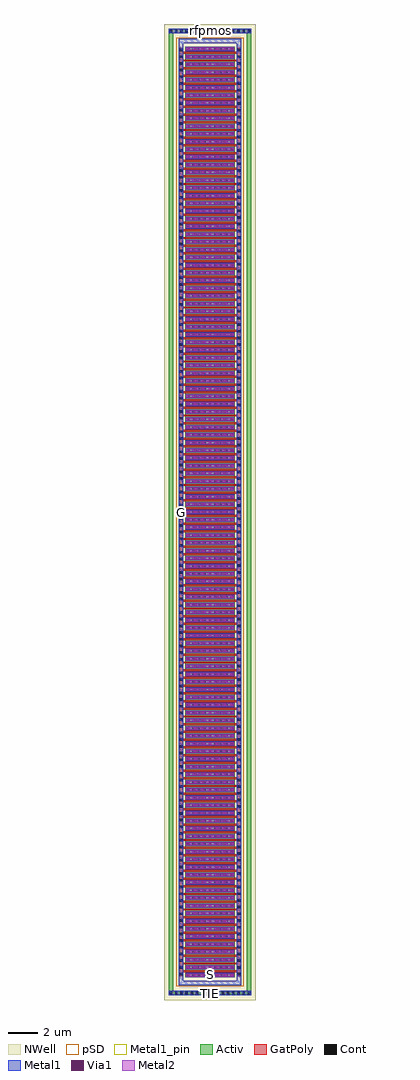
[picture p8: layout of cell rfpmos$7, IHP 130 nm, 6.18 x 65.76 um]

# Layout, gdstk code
import gdstk
lib = gdstk.Library(unit=1e-6, precision=1e-09)
def R(c, l, rs):  # rectangles x0, y0, x1, y1
    for r in rs: c.add(gdstk.rectangle(r[:2], r[2:], *l))
def A(c, l, x, y, w, h, nx, ny, dx, dy):  # array of equal rectangles
    R(c, l, [(x+i*dx, y+j*dy, x+i*dx+w, y+j*dy+h) for i in range(nx) for j in range(ny)])
def P(c, l, *ps):  # polygons
    for p in ps: c.add(gdstk.Polygon(p, *l))
Activ = (1, 0)
GatPoly = (5, 0)
Cont = (6, 0)
Metal1 = (8, 0)
Metal1_pin = (8, 2)
Metal2 = (10, 0)
pSD = (14, 0)
Via1 = (19, 0)
NWell = (31, 0)

rfpmos_7 = lib.new_cell('rfpmos$7')
R(rfpmos_7, Activ, [(1.42,1.525,4.76,64.235)])
P(rfpmos_7, Activ, [(0.31,0.31),(0.31,65.13),(0.63,65.13),(0.63,0.63),(5.55,0.63),(5.55,65.13),(0.31,65.13),(0.31,65.45),(5.87,65.45),(5.87,0.31)])
A(rfpmos_7, GatPoly, 1.29, 1.875, 3.6, 0.13, 1, 120, 0, 0.52)
R(rfpmos_7, GatPoly, [(0.99,1.6,1.29,64.16), (4.89,1.6,5.19,64.16)])
A(rfpmos_7, Cont, 0.735, 0.39, 0.16, 0.16, 7, 2, 0.35, 64.82)
A(rfpmos_7, Cont, 3.18, 0.39, 0.16, 0.16, 8, 2, 0.35, 64.82)
A(rfpmos_7, Cont, 1.52, 1.6, 0.16, 0.16, 1, 121, 0, 0.52)
A(rfpmos_7, Cont, 1.89, 1.6, 0.16, 0.16, 1, 121, 0, 0.52)
A(rfpmos_7, Cont, 2.265, 1.6, 0.16, 0.16, 1, 121, 0, 0.52)
A(rfpmos_7, Cont, 2.635, 1.6, 0.16, 0.16, 1, 121, 0, 0.52)
A(rfpmos_7, Cont, 3.01, 1.6, 0.16, 0.16, 1, 121, 0, 0.52)
A(rfpmos_7, Cont, 3.38, 1.6, 0.16, 0.16, 1, 121, 0, 0.52)
A(rfpmos_7, Cont, 3.755, 1.6, 0.16, 0.16, 1, 121, 0, 0.52)
A(rfpmos_7, Cont, 4.125, 1.6, 0.16, 0.16, 1, 121, 0, 0.52)
A(rfpmos_7, Cont, 4.5, 1.6, 0.16, 0.16, 1, 121, 0, 0.52)
A(rfpmos_7, Cont, 1.06, 1.67, 0.16, 0.16, 1, 5, 0, 0.45)
A(rfpmos_7, Cont, 4.96, 1.67, 0.16, 0.16, 1, 5, 0, 0.45)
A(rfpmos_7, Cont, 1.06, 3.925, 0.16, 0.16, 1, 4, 0, 0.45)
A(rfpmos_7, Cont, 4.96, 3.925, 0.16, 0.16, 1, 4, 0, 0.45)
A(rfpmos_7, Cont, 1.06, 5.73, 0.16, 0.16, 1, 4, 0, 0.45)
A(rfpmos_7, Cont, 4.96, 5.73, 0.16, 0.16, 1, 4, 0, 0.45)
A(rfpmos_7, Cont, 1.06, 7.535, 0.16, 0.16, 1, 5, 0, 0.45)
A(rfpmos_7, Cont, 4.96, 7.535, 0.16, 0.16, 1, 5, 0, 0.45)
A(rfpmos_7, Cont, 1.06, 9.79, 0.16, 0.16, 1, 4, 0, 0.45)
A(rfpmos_7, Cont, 4.96, 9.79, 0.16, 0.16, 1, 4, 0, 0.45)
A(rfpmos_7, Cont, 1.06, 11.595, 0.16, 0.16, 1, 4, 0, 0.45)
A(rfpmos_7, Cont, 4.96, 11.595, 0.16, 0.16, 1, 4, 0, 0.45)
A(rfpmos_7, Cont, 1.06, 13.4, 0.16, 0.16, 1, 5, 0, 0.45)
A(rfpmos_7, Cont, 4.96, 13.4, 0.16, 0.16, 1, 5, 0, 0.45)
A(rfpmos_7, Cont, 1.06, 15.655, 0.16, 0.16, 1, 4, 0, 0.45)
A(rfpmos_7, Cont, 4.96, 15.655, 0.16, 0.16, 1, 4, 0, 0.45)
A(rfpmos_7, Cont, 1.06, 17.46, 0.16, 0.16, 1, 4, 0, 0.45)
A(rfpmos_7, Cont, 4.96, 17.46, 0.16, 0.16, 1, 4, 0, 0.45)
A(rfpmos_7, Cont, 1.06, 19.265, 0.16, 0.16, 1, 5, 0, 0.45)
A(rfpmos_7, Cont, 4.96, 19.265, 0.16, 0.16, 1, 5, 0, 0.45)
A(rfpmos_7, Cont, 1.06, 21.52, 0.16, 0.16, 1, 4, 0, 0.45)
A(rfpmos_7, Cont, 4.96, 21.52, 0.16, 0.16, 1, 4, 0, 0.45)
A(rfpmos_7, Cont, 1.06, 23.325, 0.16, 0.16, 1, 4, 0, 0.45)
A(rfpmos_7, Cont, 4.96, 23.325, 0.16, 0.16, 1, 4, 0, 0.45)
A(rfpmos_7, Cont, 1.06, 25.13, 0.16, 0.16, 1, 5, 0, 0.45)
A(rfpmos_7, Cont, 4.96, 25.13, 0.16, 0.16, 1, 5, 0, 0.45)
A(rfpmos_7, Cont, 1.06, 27.385, 0.16, 0.16, 1, 4, 0, 0.45)
A(rfpmos_7, Cont, 4.96, 27.385, 0.16, 0.16, 1, 4, 0, 0.45)
A(rfpmos_7, Cont, 1.06, 29.19, 0.16, 0.16, 1, 4, 0, 0.45)
A(rfpmos_7, Cont, 4.96, 29.19, 0.16, 0.16, 1, 4, 0, 0.45)
A(rfpmos_7, Cont, 1.06, 30.995, 0.16, 0.16, 1, 4, 0, 0.45)
A(rfpmos_7, Cont, 4.96, 30.995, 0.16, 0.16, 1, 4, 0, 0.45)
A(rfpmos_7, Cont, 1.06, 32.8, 0.16, 0.16, 1, 5, 0, 0.45)
A(rfpmos_7, Cont, 4.96, 32.8, 0.16, 0.16, 1, 5, 0, 0.45)
A(rfpmos_7, Cont, 1.06, 35.055, 0.16, 0.16, 1, 4, 0, 0.45)
A(rfpmos_7, Cont, 4.96, 35.055, 0.16, 0.16, 1, 4, 0, 0.45)
A(rfpmos_7, Cont, 1.06, 36.86, 0.16, 0.16, 1, 4, 0, 0.45)
A(rfpmos_7, Cont, 4.96, 36.86, 0.16, 0.16, 1, 4, 0, 0.45)
A(rfpmos_7, Cont, 1.06, 38.665, 0.16, 0.16, 1, 5, 0, 0.45)
A(rfpmos_7, Cont, 4.96, 38.665, 0.16, 0.16, 1, 5, 0, 0.45)
A(rfpmos_7, Cont, 1.06, 40.92, 0.16, 0.16, 1, 4, 0, 0.45)
A(rfpmos_7, Cont, 4.96, 40.92, 0.16, 0.16, 1, 4, 0, 0.45)
A(rfpmos_7, Cont, 1.06, 42.725, 0.16, 0.16, 1, 4, 0, 0.45)
A(rfpmos_7, Cont, 4.96, 42.725, 0.16, 0.16, 1, 4, 0, 0.45)
A(rfpmos_7, Cont, 1.06, 44.53, 0.16, 0.16, 1, 5, 0, 0.45)
A(rfpmos_7, Cont, 4.96, 44.53, 0.16, 0.16, 1, 5, 0, 0.45)
A(rfpmos_7, Cont, 1.06, 46.785, 0.16, 0.16, 1, 4, 0, 0.45)
A(rfpmos_7, Cont, 4.96, 46.785, 0.16, 0.16, 1, 4, 0, 0.45)
A(rfpmos_7, Cont, 1.06, 48.59, 0.16, 0.16, 1, 4, 0, 0.45)
A(rfpmos_7, Cont, 4.96, 48.59, 0.16, 0.16, 1, 4, 0, 0.45)
A(rfpmos_7, Cont, 1.06, 50.395, 0.16, 0.16, 1, 5, 0, 0.45)
A(rfpmos_7, Cont, 4.96, 50.395, 0.16, 0.16, 1, 5, 0, 0.45)
A(rfpmos_7, Cont, 1.06, 52.65, 0.16, 0.16, 1, 4, 0, 0.45)
A(rfpmos_7, Cont, 4.96, 52.65, 0.16, 0.16, 1, 4, 0, 0.45)
A(rfpmos_7, Cont, 1.06, 54.455, 0.16, 0.16, 1, 4, 0, 0.45)
A(rfpmos_7, Cont, 4.96, 54.455, 0.16, 0.16, 1, 4, 0, 0.45)
A(rfpmos_7, Cont, 1.06, 56.26, 0.16, 0.16, 1, 5, 0, 0.45)
A(rfpmos_7, Cont, 4.96, 56.26, 0.16, 0.16, 1, 5, 0, 0.45)
A(rfpmos_7, Cont, 1.06, 58.515, 0.16, 0.16, 1, 4, 0, 0.45)
A(rfpmos_7, Cont, 4.96, 58.515, 0.16, 0.16, 1, 4, 0, 0.45)
A(rfpmos_7, Cont, 1.06, 60.32, 0.16, 0.16, 1, 4, 0, 0.45)
A(rfpmos_7, Cont, 4.96, 60.32, 0.16, 0.16, 1, 4, 0, 0.45)
A(rfpmos_7, Cont, 1.06, 62.125, 0.16, 0.16, 1, 4, 0, 0.45)
A(rfpmos_7, Cont, 4.96, 62.125, 0.16, 0.16, 1, 4, 0, 0.45)
R(rfpmos_7, Cont, [(0.39,0.39,0.55,0.55), (1.06,63.93,1.22,64.09), (4.96,63.93,5.12,64.09), (0.39,65.21,0.55,65.37)])
A(rfpmos_7, Metal1, 1.47, 1.54, 3.24, 0.28, 1, 121, 0, 0.52)
R(rfpmos_7, Metal1, [(0.31,0.31,5.87,0.63), (1.04,1.62,1.24,64.14), (4.94,1.62,5.14,64.14), (0.31,65.13,5.87,65.45)])
P(rfpmos_7, Metal1, [(0.99,0.99),(0.99,64.47),(1.29,64.47),(1.29,1.29),(4.89,1.29),(4.89,64.47),(0.99,64.47),(0.99,64.77),(5.19,64.77),(5.19,0.99)])
R(rfpmos_7, Metal1_pin, [(0.31,0.39,5.87,0.55), (0.31,0.39,5.87,0.55), (1.47,1.54,4.71,1.82), (1.47,1.54,4.71,1.82), (1.04,1.62,1.24,64.14), (1.04,1.62,1.24,64.14), (1.47,2.06,4.71,2.34), (1.47,2.06,4.71,2.34)])
A(rfpmos_7, Metal2, 1.47, 1.58, 3.24, 0.2, 1, 121, 0, 0.52)
R(rfpmos_7, pSD, [(0.81,0.91,5.37,64.85)])
A(rfpmos_7, Via1, 1.52, 1.585, 0.19, 0.19, 3, 121, 0.49, 0.52)
A(rfpmos_7, Via1, 2.995, 1.585, 0.19, 0.19, 3, 121, 0.49, 0.52)
A(rfpmos_7, Via1, 4.47, 1.585, 0.19, 0.19, 1, 121, 0, 0.52)
R(rfpmos_7, NWell, [(0,0,6.18,65.76)])
rfpmos_7.add(gdstk.Label('S', (3.09,1.7), layer=63, texttype=0))
rfpmos_7.add(gdstk.Label('D', (3.09,2.22), layer=63, texttype=0))
rfpmos_7.add(gdstk.Label('G', (1.14,32.88), layer=63, texttype=0))
rfpmos_7.add(gdstk.Label('TIE', (3.09,0.47), layer=63, texttype=0))
rfpmos_7.add(gdstk.Label('rfpmos', (3.09,65.29), layer=63, texttype=0))

lib.write_gds('rfpmos_7.gds')
